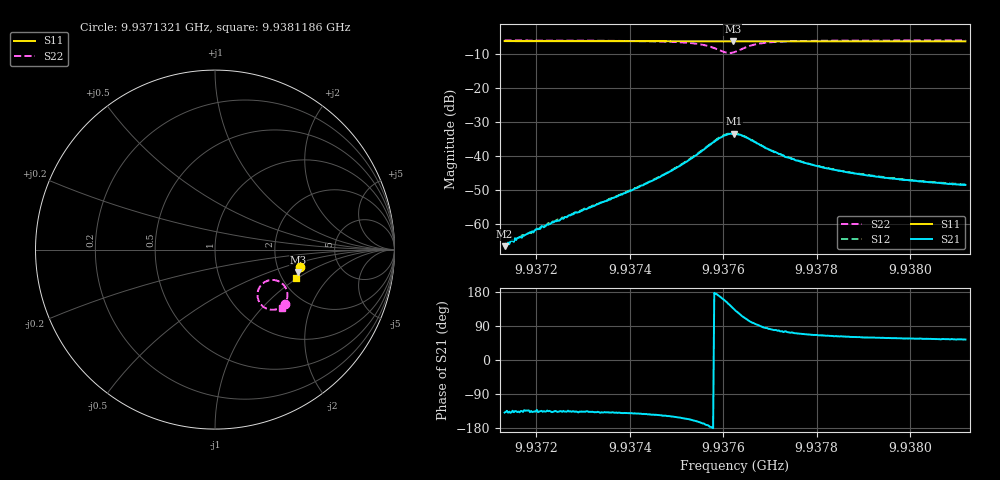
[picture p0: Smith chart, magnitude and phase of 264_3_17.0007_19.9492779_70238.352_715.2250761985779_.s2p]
#  HZ  S  RI  R  50.00
! Rohde & Schwarz Vector Network Analyzer
! Rohde-Schwarz,ZNB20-2Port,1311601062101988,3.16
! Created: UTC 3/20/2024, 11:03:55 PM
! freq[Hz]  re:S11  im:S11  re:S21  im:S21  re:S12  im:S12  re:S22  im:S22
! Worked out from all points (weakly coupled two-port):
!   401 points, 9.9371321 GHz to 9.9381186 GHz, reference 50 ohm
!   highest |S21| = -33.38 dB at 9.9376229 GHz (marker M1); lowest = -66.4 dB at 9.9371321 GHz (marker M2)
!   lowest |S11| = -6.4 dB at 9.9376204 GHz (marker M3), VSWR 2.84, Z = 126 - j41.7 ohm
!   |S11| at or under -10 dB: nowhere
!   |S22| runs from -9.8 to -6.1 dB; largest |S21 - S12| = 0.00095
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9.93713207e9  0.4746 -0.0962  -0.000359 -0.000317  -0.000362 -0.000332  0.3923 -0.3011
9.9371592e9  0.474 -0.098  -0.000466 -0.000428  -0.000443 -0.000405  0.3904 -0.3031
9.93723072e9  0.4728 -0.1028  -0.000733 -0.000708  -0.000751 -0.000733  0.3846 -0.3087
9.93729731e9  0.4713 -0.1073  -0.00113 -0.00109  -0.0012 -0.00108  0.3778 -0.3146
9.9373787e9  0.4696 -0.1129  -0.00204 -0.00177  -0.00206 -0.00172  0.3661 -0.3225
9.93746255e9  0.4678 -0.1185  -0.00402 -0.00274  -0.00413 -0.00274  0.345 -0.332
9.93751188e9  0.4665 -0.1219  -0.00673 -0.00339  -0.00689 -0.00335  0.3202 -0.3356
9.9375612e9  0.4646 -0.1251  -0.0127 -0.00228  -0.013 -0.00203  0.2719 -0.3203
9.93759327e9  0.4632 -0.1268  -0.018 0.00415  -0.0183 0.00458  0.2372 -0.2621
9.93760806e9  0.4626 -0.1268  -0.0182 0.00959  -0.0182 0.0105  0.2445 -0.2169
9.9376204e9  0.4624 -0.1271  -0.0157 0.0144  -0.0156 0.0152  0.2712 -0.1846
9.93762286e9  0.4626 -0.1272  -0.0151 0.0152  -0.0148 0.016  0.2783 -0.1799
9.93762533e9  0.4626 -0.1272  -0.0142 0.016  -0.0139 0.0166  0.2858 -0.1763
9.93764013e9  0.4627 -0.1277  -0.00876 0.018  -0.00832 0.0184  0.3304 -0.1696
9.93765492e9  0.4631 -0.1288  -0.00429 0.0174  -0.00375 0.0176  0.3646 -0.1821
9.93768452e9  0.4631 -0.1308  0.00079 0.0139  0.000947 0.014  0.3962 -0.2184
9.93773631e9  0.4622 -0.1348  0.00267 0.00922  0.00307 0.00924  0.4034 -0.26
9.93779057e9  0.4611 -0.1386  0.00295 0.00684  0.00312 0.00679  0.3987 -0.2818
9.93786209e9  0.4593 -0.1435  0.00277 0.00514  0.0029 0.00514  0.3915 -0.2983
9.93795581e9  0.4571 -0.1496  0.00252 0.00401  0.0026 0.004  0.3833 -0.3114
9.9380594e9  0.4544 -0.1564  0.00232 0.00332  0.00239 0.00331  0.3754 -0.3212
9.93811859e9  0.4527 -0.1602  0.00222 0.00305  0.00233 0.00309  0.3714 -0.3261
